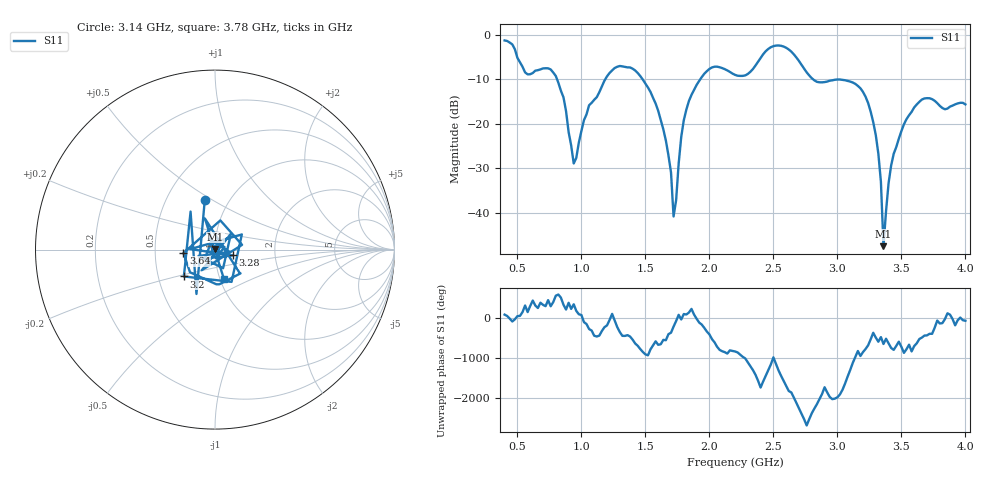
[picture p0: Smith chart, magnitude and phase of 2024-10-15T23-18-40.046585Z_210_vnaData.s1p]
! Created with skrf (http://scikit-rf.org).
# Hz S RI R 50.0
!freq ReS11 ImS11
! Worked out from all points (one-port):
!   181 points, 400 MHz to 4 GHz, reference 50 ohm
!   lowest |S11| = -47.6 dB at 3.36 GHz (marker M1), VSWR 1.01, Z = 50.2 + j0.371 ohm
!   |S11| at or under -10 dB: 810.3 MHz to 1.185 GHz (375.1 MHz wide, 37.6 % of centre); 1.479 GHz to 1.928 GHz (448.4 MHz wide, 26.3 % of centre); 2.812 GHz to end of sweep
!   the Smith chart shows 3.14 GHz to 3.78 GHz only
!   S11 on the Smith chart (normalised r, x): 3.14 GHz: 0.77, +0.46; 3.2 GHz: 0.68, -0.21; 3.28 GHz: 1.22, -0.08; 3.64 GHz: 0.70, -0.03; 3.78 GHz: 1.04, -0.35
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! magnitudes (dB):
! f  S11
! 400 MHz  -1.2
! 580 MHz  -8.8
! 760 MHz  -7.7
! 860 MHz  -14.0
! 940 MHz  -28.9
! 1.06 GHz  -15.8
! 1.3 GHz  -7.0
! 1.58 GHz  -15.4
! 1.68 GHz  -27.1
! 1.72 GHz  -40.9
! 1.76 GHz  -28.9
! 1.8 GHz  -19.2
! 1.9 GHz  -11.2
! 2.2 GHz  -9.0
! 2.5 GHz  -2.5
! 2.66 GHz  -4.3
! 2.84 GHz  -10.5
! 3.1 GHz  -10.5
! 3.14 GHz  -11.0
! 3.2 GHz  -12.8
! 3.28 GHz  -19.6
! 3.34 GHz  -33.1
! 3.36 GHz  -47.6
! 3.42 GHz  -29.4
! 3.56 GHz  -18.1
! 3.64 GHz  -15.0
! 3.78 GHz  -15.3
! 4 GHz  -15.6
